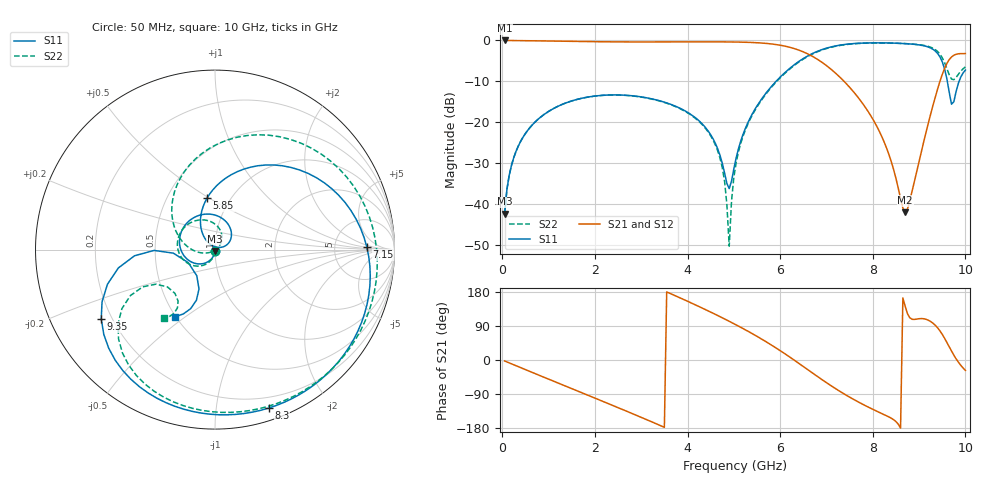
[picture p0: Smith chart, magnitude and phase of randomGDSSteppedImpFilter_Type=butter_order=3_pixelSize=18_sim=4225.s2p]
! freq	dB(S11)	phase(S11)	dB(S12)	phase(S12)
!  dB(S21)	phase(S21)	dB(S22)	phase(S22)
!S-par simulation data
#  GHz  S  DB  R 50
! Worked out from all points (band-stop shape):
!   200 points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, 50 MHz to 10 GHz, reference 50 ohm
!   highest |S21| = -0.01 dB at 50 MHz (marker M1); lowest = -42.1 dB at 8.7 GHz (marker M2)
!   |S21| within 3 dB of the highest: start of sweep to 6.541 GHz
!   lowest |S11| = -42.4 dB at 50 MHz (marker M3), VSWR 1.02, Z = 50 - j0.758 ohm
!   |S11| at or under -10 dB: start of sweep to 5.913 GHz; 9.609 GHz to 9.865 GHz (255.3 MHz wide, 2.62 % of centre)
!   |S22| runs from -50.4 to -0.6 dB; largest |S21 - S12| = 0
!   S11 on the Smith chart (normalised r, x): 50 MHz: 1.00, -0.02; 5.85 GHz: 0.78, +0.49; 7.15 GHz: 12, +1; 8.3 GHz: 0.10, -1.39; 9.35 GHz: 0.16, -0.27; 10 GHz: 0.50, -0.46
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0.05  -42.41 -91.1  -0.01 -2.6  -0.01 -2.6  -42.40 -90.6
0.2  -30.53 -100.9  -0.02 -10.2  -0.02 -10.2  -30.52 -99.2
0.5  -22.79 -118.0  -0.06 -25.4  -0.06 -25.4  -22.78 -113.8
1.75  -14.08 173.3  -0.28 -88.1  -0.28 -88.1  -14.09 -171.2
2.5  -13.35 131.6  -0.36 -125.7  -0.36 -125.7  -13.36 155.0
3.4  -14.78 80.4  -0.37 -172.3  -0.37 -172.3  -14.85 113.5
4.55  -24.06 20.2  -0.34 123.5  -0.34 123.5  -24.37 52.6
4.8  -32.44 30.6  -0.36 108.4  -0.36 108.4  -34.50 32.3
4.9  -36.29 78.3  -0.37 102.2  -0.37 102.2  -50.38 -57.0
4.95  -34.44 107.9  -0.37 99.0  -0.37 99.0  -39.38 -135.3
5.05  -28.76 130.5  -0.39 92.7  -0.39 92.7  -29.91 -151.1
5.85  -10.77 98.9  -0.91 36.6  -0.91 36.6  -10.97 146.1
6.25  -6.45 70.3  -1.81 4.2  -1.81 4.2  -6.60 111.2
6.7  -3.19 35.3  -3.91 -34.5  -3.91 -34.5  -3.31 69.4
7.15  -1.46 1.1  -7.55 -71.9  -7.55 -71.9  -1.54 28.8
7.65  -0.72 -32.8  -13.48 -108.3  -13.48 -108.3  -0.77 -11.1
8.3  -0.61 -71.3  -26.41 -147.3  -26.41 -147.3  -0.63 -55.5
8.35  -0.62 -74.2  -27.97 -150.4  -27.97 -150.4  -0.64 -58.7
8.7  -0.78 -94.8  -42.11 141.7  -42.11 141.7  -0.78 -81.1
9.35  -2.59 -148.6  -13.85 91.5  -13.85 91.5  -2.25 -132.0
9.7  -15.61 -154.0  -4.05 23.5  -4.05 23.5  -9.45 -141.8
10  -7.27 -120.5  -3.22 -27.5  -3.22 -27.5  -6.49 -126.6
